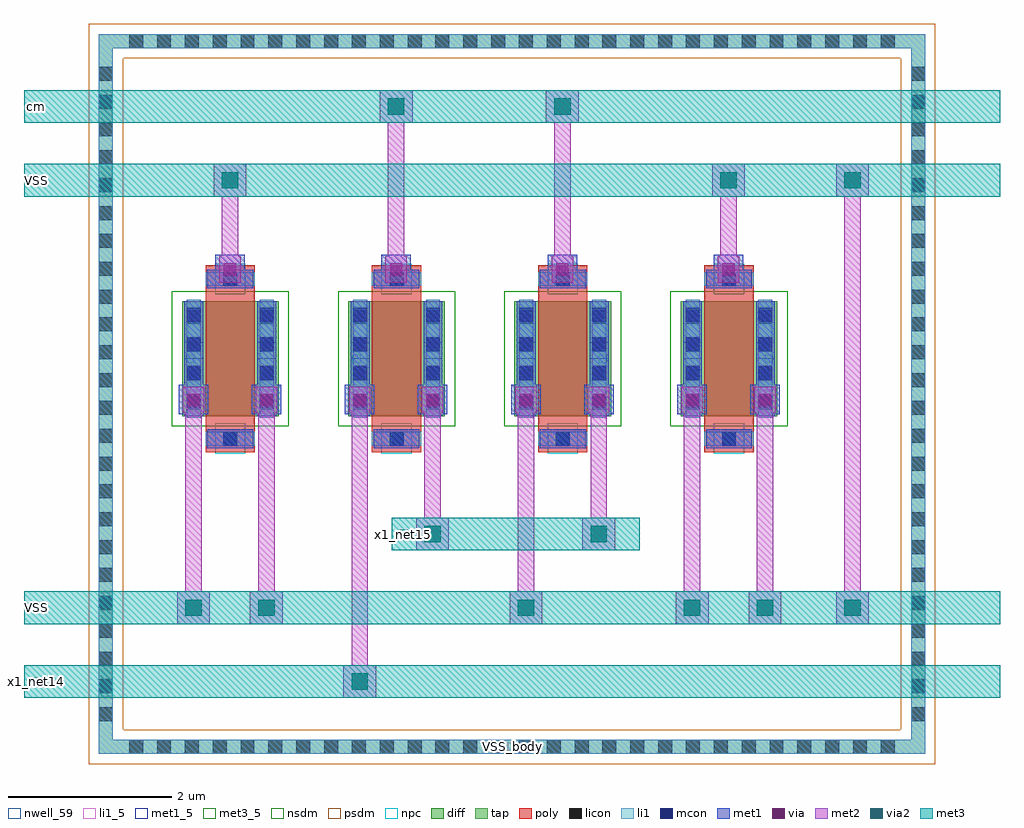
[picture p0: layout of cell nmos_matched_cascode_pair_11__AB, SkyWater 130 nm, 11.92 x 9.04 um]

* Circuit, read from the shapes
.subckt nmos_matched_cascode_pair_11__AB VSS VSS_body cm x1_net14 x1_net15
XM1 VSS VSS VSS VSS_body sky130_fd_pr__nfet_01v8 w=1.4 l=0.6 m=2
XM2 x1_net15 cm x1_net14 VSS_body sky130_fd_pr__nfet_01v8 w=1.4 l=0.6
XM3 x1_net15 cm VSS VSS_body sky130_fd_pr__nfet_01v8 w=1.4 l=0.6
.ends

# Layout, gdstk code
from math import pi, radians
import gdstk
lib = gdstk.Library(unit=1e-6, precision=1e-09)
def R(c, l, rs):  # rectangles x0, y0, x1, y1
    for r in rs: c.add(gdstk.rectangle(r[:2], r[2:], *l))
def A(c, l, x, y, w, h, nx, ny, dx, dy):  # array of equal rectangles
    R(c, l, [(x+i*dx, y+j*dy, x+i*dx+w, y+j*dy+h) for i in range(nx) for j in range(ny)])
nwell_59 = (64, 59)
diff = (65, 20)
tap = (65, 44)
poly = (66, 20)
licon = (66, 44)
li1_5 = (67, 5)
li1 = (67, 20)
mcon = (67, 44)
met1_5 = (68, 5)
met1 = (68, 20)
via = (68, 44)
met2 = (69, 20)
via2 = (69, 44)
met3_5 = (70, 5)
met3 = (70, 20)
nsdm = (93, 44)
psdm = (94, 20)
npc = (95, 20)

sky130_fd_pr__nfet_01v8_ = lib.new_cell('sky130_fd_pr__nfet_01v8_KCM6UP')
R(sky130_fd_pr__nfet_01v8_, diff, [(-0.59,-0.7,0.59,0.7)])
R(sky130_fd_pr__nfet_01v8_, poly, [(-0.3,-1.14,0.3,1.14)])
A(sky130_fd_pr__nfet_01v8_, licon, -0.53, -0.595, 0.17, 0.17, 1, 4, 0, 0.34)
A(sky130_fd_pr__nfet_01v8_, licon, 0.36, -0.595, 0.17, 0.17, 1, 4, 0, 0.34)
R(sky130_fd_pr__nfet_01v8_, licon, [(-0.085,-1.06,0.085,-0.89), (-0.085,0.89,0.085,1.06)])
R(sky130_fd_pr__nfet_01v8_, li1, [(-0.3,-1.06,0.3,-0.89), (-0.53,-0.72,-0.36,0.72), (0.36,-0.72,0.53,0.72), (-0.3,0.89,0.3,1.06)])
A(sky130_fd_pr__nfet_01v8_, mcon, -0.53, -0.625, 0.17, 0.17, 1, 4, 0, 0.36)
A(sky130_fd_pr__nfet_01v8_, mcon, 0.36, -0.625, 0.17, 0.17, 1, 4, 0, 0.36)
R(sky130_fd_pr__nfet_01v8_, mcon, [(-0.085,-1.06,0.085,-0.89), (-0.085,0.89,0.085,1.06)])
R(sky130_fd_pr__nfet_01v8_, met1, [(-0.28,-1.09,0.28,-0.86), (-0.56,-0.7,-0.33,0.7), (0.33,-0.7,0.56,0.7), (-0.28,0.86,0.28,1.09)])
R(sky130_fd_pr__nfet_01v8_, nsdm, [(-0.715,-0.825,0.715,0.825)])
R(sky130_fd_pr__nfet_01v8_, npc, [(-0.185,-1.16,0.185,-0.79), (-0.185,0.79,0.185,1.16)])
sky130_fd_pr__nfet_01v8_.add(gdstk.Label('D', (-0.445,0), layer=67, texttype=5))
sky130_fd_pr__nfet_01v8_.add(gdstk.Label('S', (0.445,0), layer=67, texttype=5))
sky130_fd_pr__nfet_01v8_.add(gdstk.Label('G', (0,0.975), layer=67, texttype=5))

nfet_01v8_w1p4_l0p6_m1__ = lib.new_cell('nfet_01v8_W1p4_L0p6_m1__nf1_gboth_sdfull_ng')
R(nfet_01v8_w1p4_l0p6_m1__, nwell_59, [(0.05,1.09,0.15,1.19)])
R(nfet_01v8_w1p4_l0p6_m1__, met1_5, [(0.03,1.14,0.26,1.34), (0.92,1.14,1.15,1.34), (0.31,2,0.87,2.23)])
R(nfet_01v8_w1p4_l0p6_m1__, met1, [(0.03,1.14,0.26,1.34), (0.92,1.14,1.15,1.34), (0.31,2,0.87,2.23)])
nfet_01v8_w1p4_l0p6_m1__.add(gdstk.Reference(sky130_fd_pr__nfet_01v8_, (0.59,1.14)))
nfet_01v8_w1p4_l0p6_m1__.add(gdstk.Label('D', (0.145,1.24), layer=68, texttype=5))
nfet_01v8_w1p4_l0p6_m1__.add(gdstk.Label('S', (1.035,1.24), layer=68, texttype=5))
nfet_01v8_w1p4_l0p6_m1__.add(gdstk.Label('G', (0.59,2.115), layer=68, texttype=5))
nfet_01v8_w1p4_l0p6_m1__.add(gdstk.Label('B', (0.1,1.14), layer=64, texttype=59))

nmos_matched_cascode_pai = lib.new_cell('nmos_matched_cascode_pair_11__AB')
R(nmos_matched_cascode_pai, tap, [(-0.885,-3.685,9.205,-3.515), (-0.885,-3.515,-0.715,4.935), (9.035,-3.515,9.205,4.935), (-0.885,4.935,9.205,5.105)])
A(nmos_matched_cascode_pai, licon, -0.515, -3.685, 0.17, 0.17, 28, 2, 0.34, 8.62)
A(nmos_matched_cascode_pai, licon, -0.885, -3.285, 0.17, 0.17, 1, 24, 0, 0.34)
A(nmos_matched_cascode_pai, licon, 9.035, -3.285, 0.17, 0.17, 1, 24, 0, 0.34)
R(nmos_matched_cascode_pai, li1_5, [(4.11,-3.65,4.21,-3.55)])
R(nmos_matched_cascode_pai, li1, [(-0.885,-3.685,9.205,-3.515), (-0.885,-3.515,-0.715,4.935), (9.035,-3.515,9.205,4.935), (-0.885,4.935,9.205,5.105)])
A(nmos_matched_cascode_pai, met1, 0.535, 2.05, 0.36, 0.36, 4, 1, 2.03, 0)
R(nmos_matched_cascode_pai, met1, [(0.09,0.46,0.45,0.82), (0.98,0.46,1.34,0.82), (2.12,0.46,2.48,0.82), (3.01,0.46,3.37,0.82), (4.15,0.46,4.51,0.82), (5.04,0.46,5.4,0.82), (6.18,0.46,6.54,0.82), (7.07,0.46,7.43,0.82)])
A(nmos_matched_cascode_pai, via, 0.64, 2.155, 0.15, 0.15, 4, 1, 2.03, 0)
R(nmos_matched_cascode_pai, via, [(0.195,0.565,0.345,0.715), (1.085,0.565,1.235,0.715), (2.225,0.565,2.375,0.715), (3.115,0.565,3.265,0.715), (4.255,0.565,4.405,0.715), (5.145,0.565,5.295,0.715), (6.285,0.565,6.435,0.715), (7.175,0.565,7.325,0.715)])
A(nmos_matched_cascode_pai, met2, 0.585, 2.07, 0.26, 0.32, 4, 1, 2.03, 0)
R(nmos_matched_cascode_pai, met2, [(2.1,-3,2.5,-2.6), (2.2,-2.6,2.4,0.48), (0.07,-2.1,0.47,-1.7), (0.96,-2.1,1.36,-1.7), (4.13,-2.1,4.53,-1.7), (6.16,-2.1,6.56,-1.7), (7.05,-2.1,7.45,-1.7), (8.12,-2.1,8.52,-1.7), (0.17,-1.7,0.37,0.48), (1.06,-1.7,1.26,0.48), (4.23,-1.7,4.43,0.48), (6.26,-1.7,6.46,0.48), (7.15,-1.7,7.35,0.48), (8.22,-1.7,8.42,3.12), (2.99,-1.2,3.39,-0.8), (5.02,-1.2,5.42,-0.8), (3.09,-0.8,3.29,0.48), (5.12,-0.8,5.32,0.48), (0.14,0.48,0.4,0.8), (1.03,0.48,1.29,0.8), (2.17,0.48,2.43,0.8), (3.06,0.48,3.32,0.8), (4.2,0.48,4.46,0.8), (5.09,0.48,5.35,0.8), (6.23,0.48,6.49,0.8), (7.12,0.48,7.38,0.8), (0.615,2.39,0.815,3.12), (2.645,2.39,2.845,4.02), (4.675,2.39,4.875,4.02), (6.705,2.39,6.905,3.12), (0.515,3.12,0.915,3.52), (6.605,3.12,7.005,3.52), (8.12,3.12,8.52,3.52), (2.545,4.02,2.945,4.42), (4.575,4.02,4.975,4.42)])
R(nmos_matched_cascode_pai, via2, [(2.2,-2.9,2.4,-2.7), (0.17,-2,0.37,-1.8), (1.06,-2,1.26,-1.8), (4.23,-2,4.43,-1.8), (6.26,-2,6.46,-1.8), (7.15,-2,7.35,-1.8), (8.22,-2,8.42,-1.8), (3.09,-1.1,3.29,-0.9), (5.12,-1.1,5.32,-0.9), (0.615,3.22,0.815,3.42), (6.705,3.22,6.905,3.42), (8.22,3.22,8.42,3.42), (2.645,4.12,2.845,4.32), (4.675,4.12,4.875,4.32)])
R(nmos_matched_cascode_pai, met3_5, [(-1.7,-2.85,-1.6,-2.75), (-1.7,-1.95,-1.6,-1.85), (2.79,-1.05,2.89,-0.95), (-1.7,3.27,-1.6,3.37), (-1.7,4.17,-1.6,4.27)])
R(nmos_matched_cascode_pai, met3, [(-1.8,-3,10.12,-2.6), (-1.8,-2.1,10.12,-1.7), (2.69,-1.2,5.72,-0.8), (-1.8,3.12,10.12,3.52), (-1.8,4.02,10.12,4.42)])
R(nmos_matched_cascode_pai, psdm, [(-1.01,-3.81,9.33,-3.39), (-1.01,-3.39,-0.59,4.81), (8.91,-3.39,9.33,4.81), (-1.01,4.81,9.33,5.23)])
nmos_matched_cascode_pai.add(gdstk.Reference(nfet_01v8_w1p4_l0p6_m1__, (7.4,0), rotation=pi, x_reflection=True))
nmos_matched_cascode_pai.add(gdstk.Reference(nfet_01v8_w1p4_l0p6_m1__, (5.37,0), rotation=pi, x_reflection=True))
nmos_matched_cascode_pai.add(gdstk.Reference(nfet_01v8_w1p4_l0p6_m1__, (2.16,0)))
nmos_matched_cascode_pai.add(gdstk.Reference(nfet_01v8_w1p4_l0p6_m1__, (0.13,0)))
nmos_matched_cascode_pai.add(gdstk.Label('VSS', (-1.65,3.32), layer=70, texttype=5))
nmos_matched_cascode_pai.add(gdstk.Label('cm', (-1.65,4.22), layer=70, texttype=5))
nmos_matched_cascode_pai.add(gdstk.Label('VSS', (-1.65,-1.9), layer=70, texttype=5))
nmos_matched_cascode_pai.add(gdstk.Label('x1_net14', (-1.65,-2.8), layer=70, texttype=5))
nmos_matched_cascode_pai.add(gdstk.Label('x1_net15', (2.84,-1), layer=70, texttype=5))
nmos_matched_cascode_pai.add(gdstk.Label('VSS_body', (4.16,-3.6), layer=67, texttype=5))

lib.write_gds('nmos_matched_cascode_pair_11__AB.gds')
